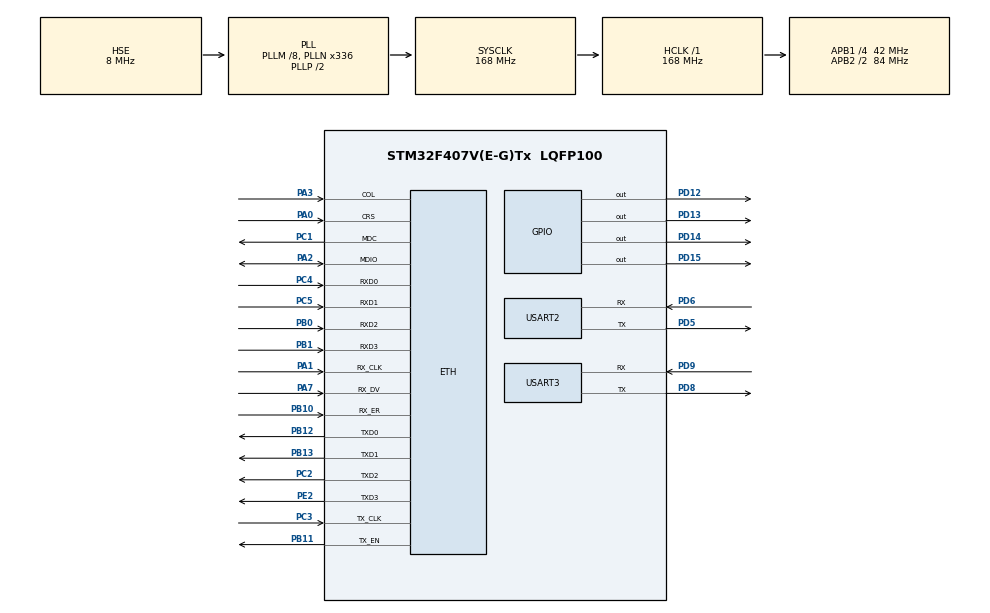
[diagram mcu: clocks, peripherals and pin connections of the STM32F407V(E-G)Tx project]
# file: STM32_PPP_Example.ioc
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Dma.Request0=USART2_TX
Dma.Request1=USART2_RX
Dma.Request2=USART3_RX
Dma.Request3=USART3_TX
Dma.USART2_RX.1.Direction=DMA_PERIPH_TO_MEMORY
Dma.USART2_RX.1.FIFOMode=DMA_FIFOMODE_DISABLE
Dma.USART2_RX.1.Instance=DMA1_Stream5
Dma.USART2_RX.1.MemDataAlignment=DMA_MDATAALIGN_BYTE
Dma.USART2_RX.1.MemInc=DMA_MINC_ENABLE
Dma.USART2_RX.1.Mode=DMA_CIRCULAR
Dma.USART2_RX.1.PeriphDataAlignment=DMA_PDATAALIGN_BYTE
Dma.USART2_RX.1.PeriphInc=DMA_PINC_DISABLE
Dma.USART2_RX.1.Priority=DMA_PRIORITY_MEDIUM
Dma.USART2_TX.0.Direction=DMA_MEMORY_TO_PERIPH
Dma.USART2_TX.0.FIFOMode=DMA_FIFOMODE_DISABLE
Dma.USART2_TX.0.Instance=DMA1_Stream6
Dma.USART2_TX.0.MemDataAlignment=DMA_MDATAALIGN_BYTE
Dma.USART2_TX.0.MemInc=DMA_MINC_ENABLE
Dma.USART2_TX.0.Mode=DMA_NORMAL
Dma.USART2_TX.0.PeriphDataAlignment=DMA_PDATAALIGN_BYTE
Dma.USART2_TX.0.PeriphInc=DMA_PINC_DISABLE
Dma.USART2_TX.0.Priority=DMA_PRIORITY_MEDIUM
Dma.USART3_RX.2.Direction=DMA_PERIPH_TO_MEMORY
Dma.USART3_RX.2.FIFOMode=DMA_FIFOMODE_DISABLE
Dma.USART3_RX.2.Instance=DMA1_Stream1
Dma.USART3_RX.2.MemDataAlignment=DMA_MDATAALIGN_BYTE
Dma.USART3_RX.2.MemInc=DMA_MINC_ENABLE
Dma.USART3_RX.2.Mode=DMA_NORMAL
Dma.USART3_RX.2.PeriphDataAlignment=DMA_PDATAALIGN_BYTE
Dma.USART3_RX.2.PeriphInc=DMA_PINC_DISABLE
Dma.USART3_RX.2.Priority=DMA_PRIORITY_MEDIUM
Dma.USART3_TX.3.Direction=DMA_MEMORY_TO_PERIPH
Dma.USART3_TX.3.FIFOMode=DMA_FIFOMODE_DISABLE
Dma.USART3_TX.3.Instance=DMA1_Stream3
Dma.USART3_TX.3.MemDataAlignment=DMA_MDATAALIGN_BYTE
Dma.USART3_TX.3.MemInc=DMA_MINC_ENABLE
Dma.USART3_TX.3.Mode=DMA_NORMAL
Dma.USART3_TX.3.PeriphDataAlignment=DMA_PDATAALIGN_BYTE
Dma.USART3_TX.3.PeriphInc=DMA_PINC_DISABLE
Dma.USART3_TX.3.Priority=DMA_PRIORITY_MEDIUM
ETH.MediaInterface=HAL_ETH_MII_MODE
FREERTOS.Tasks01=defaultTask,0,1280,StartDefaultTask,Default,NULL,Dynamic,NULL,NULL
FREERTOS.configUSE_NEWLIB_REENTRANT=1
LWIP.CHAP_SUPPORT=1
LWIP.LWIP_INCLUDED_POLARSSL_ARC4=1
LWIP.LWIP_INCLUDED_POLARSSL_DES=1
LWIP.LWIP_INCLUDED_POLARSSL_MD4=1
LWIP.LWIP_INCLUDED_POLARSSL_SHA1=1
LWIP.PAP_SUPPORT=1
LWIP.Version=v2.1.2_Cube
Mcu.Family=STM32F4
Mcu.Name=STM32F407V(E-G)Tx
Mcu.Package=LQFP100
NVIC.DMA1_Stream1_IRQn=true\:5\:0\:false\:false\:true\:true\:false\:true\:true
NVIC.DMA1_Stream3_IRQn=true\:5\:0\:false\:false\:true\:true\:false\:true\:true
NVIC.DMA1_Stream5_IRQn=true\:5\:0\:false\:false\:true\:true\:false\:true\:true
NVIC.DMA1_Stream6_IRQn=true\:5\:0\:false\:false\:true\:true\:false\:true\:true
NVIC.ETH_IRQn=true\:5\:0\:false\:false\:true\:true\:false\:true\:true
NVIC.PriorityGroup=NVIC_PRIORITYGROUP_4
NVIC.TIM1_UP_TIM10_IRQn=true\:0\:0\:false\:false\:true\:false\:false\:true\:true
NVIC.TimeBase=TIM1_UP_TIM10_IRQn
NVIC.TimeBaseIP=TIM1
NVIC.USART2_IRQn=true\:5\:0\:false\:false\:true\:true\:true\:true\:true
NVIC.USART3_IRQn=true\:5\:0\:false\:false\:true\:true\:true\:true\:true
PA0-WKUP.Mode=MII
PA0-WKUP.Signal=ETH_CRS
PA1.Mode=MII
PA1.Signal=ETH_RX_CLK
PA13.Mode=Serial_Wire
PA13.Signal=SYS_JTMS-SWDIO
PA14.Mode=Serial_Wire
PA14.Signal=SYS_JTCK-SWCLK
PA2.Mode=MII
PA2.Signal=ETH_MDIO
PA3.Mode=MII
PA3.Signal=ETH_COL
PA7.Mode=MII
PA7.Signal=ETH_RX_DV
PB0.Mode=MII
PB0.Signal=ETH_RXD2
PB1.Mode=MII
PB1.Signal=ETH_RXD3
PB10.Mode=Activate Rx Err signal
PB10.Signal=ETH_RX_ER
PB11.Mode=MII
PB11.Signal=ETH_TX_EN
PB12.Mode=MII
PB12.Signal=ETH_TXD0
PB13.Mode=MII
PB13.Signal=ETH_TXD1
PC1.Mode=MII
PC1.Signal=ETH_MDC
PC2.Mode=MII
PC2.Signal=ETH_TXD2
PC3.Mode=MII
PC3.Signal=ETH_TX_CLK
PC4.Mode=MII
PC4.Signal=ETH_RXD0
PC5.Mode=MII
PC5.Signal=ETH_RXD1
PD12.Signal=GPIO_Output
PD13.Signal=GPIO_Output
PD14.Signal=GPIO_Output
PD15.Signal=GPIO_Output
PD5.Mode=Asynchronous
PD5.Signal=USART2_TX
PD6.Mode=Asynchronous
PD6.Signal=USART2_RX
PD8.Mode=Asynchronous
PD8.Signal=USART3_TX
PD9.Mode=Asynchronous
PD9.Signal=USART3_RX
PE2.Mode=MII
PE2.Signal=ETH_TXD3
PH0-OSC_IN.Mode=HSE-External-Oscillator
PH0-OSC_IN.Signal=RCC_OSC_IN
PH1-OSC_OUT.Mode=HSE-External-Oscillator
PH1-OSC_OUT.Signal=RCC_OSC_OUT
ProjectManager.HeapSize=0x200
ProjectManager.StackSize=0x400
ProjectManager.TargetToolchain=STM32CubeIDE
RCC.48MHZClocksFreq_Value=84000000
RCC.AHBFreq_Value=168000000
RCC.APB1CLKDivider=RCC_HCLK_DIV4
RCC.APB1Freq_Value=42000000
RCC.APB1TimFreq_Value=84000000
RCC.APB2CLKDivider=RCC_HCLK_DIV2
RCC.APB2Freq_Value=84000000
RCC.APB2TimFreq_Value=168000000
RCC.CortexFreq_Value=168000000
RCC.HCLKFreq_Value=168000000
RCC.HSE_VALUE=8000000
RCC.HSI_VALUE=16000000
RCC.LSE_VALUE=32768
RCC.PLLM=8
RCC.PLLN=336
RCC.PLLSourceVirtual=RCC_PLLSOURCE_HSE
RCC.SYSCLKFreq_VALUE=168000000
RCC.SYSCLKSource=RCC_SYSCLKSOURCE_PLLCLK
RCC.VCOOutputFreq_Value=336000000
USART2.VirtualMode=VM_ASYNC
USART3.VirtualMode=VM_ASYNC
VP_FREERTOS_VS_CMSIS_V1.Mode=CMSIS_V1
VP_LWIP_VS_Enabled.Mode=Enabled
VP_SYS_VS_tim1.Mode=TIM1
board=STM32_PPP_Example

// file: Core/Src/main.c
/* USER CODE BEGIN Header */
/**
  ******************************************************************************
  * @file           : main.c
  * @brief          : Main program body
  ******************************************************************************
  * @attention
  *
  * Copyright (c) 2023 STMicroelectronics.
  * All rights reserved.
  *
  * This software is licensed under terms that can be found in the LICENSE file
  * in the root directory of this software component.
  * If no LICENSE file comes with this software, it is provided AS-IS.
  *
  ******************************************************************************
  */
/* USER CODE END Header */
#include "main.h"
#include "cmsis_os.h"
#include "lwip.h"

UART_HandleTypeDef huart2;
UART_HandleTypeDef huart3;
DMA_HandleTypeDef hdma_usart2_tx;
DMA_HandleTypeDef hdma_usart2_rx;
DMA_HandleTypeDef hdma_usart3_rx;
DMA_HandleTypeDef hdma_usart3_tx;

osThreadId defaultTaskHandle;

void SystemClock_Config(void);
static void MX_GPIO_Init(void);
static void MX_DMA_Init(void);
static void MX_USART2_UART_Init(void);
static void MX_USART3_UART_Init(void);
void StartDefaultTask(void const * argument);

int main(void)
{

  /* MCU Configuration--------------------------------------------------------*/

  /* Reset of all peripherals, Initializes the Flash interface and the Systick. */
  HAL_Init();

  /* Configure the system clock */
  SystemClock_Config();

  /* Initialize all configured peripherals */
  MX_GPIO_Init();
  MX_DMA_Init();
  MX_USART2_UART_Init();
  MX_USART3_UART_Init();

  /* Create the thread(s) */
  /* definition and creation of defaultTask */
  osThreadDef(defaultTask, StartDefaultTask, osPriorityNormal, 0, 1280);
  defaultTaskHandle = osThreadCreate(osThread(defaultTask), NULL);

  /* Start scheduler */
  osKernelStart();
  /* We should never get here as control is now taken by the scheduler */
  /* Infinite loop */
  while (1)
  {

  }
}

void SystemClock_Config(void)
{
  RCC_OscInitTypeDef RCC_OscInitStruct = {0};
  RCC_ClkInitTypeDef RCC_ClkInitStruct = {0};

  /** Configure the main internal regulator output voltage
  */
  __HAL_RCC_PWR_CLK_ENABLE();
  __HAL_PWR_VOLTAGESCALING_CONFIG(PWR_REGULATOR_VOLTAGE_SCALE1);

  /** Initializes the RCC Oscillators according to the specified parameters
  * in the RCC_OscInitTypeDef structure.
  */
  RCC_OscInitStruct.OscillatorType = RCC_OSCILLATORTYPE_HSE;
  RCC_OscInitStruct.HSEState = RCC_HSE_ON;
  RCC_OscInitStruct.PLL.PLLState = RCC_PLL_ON;
  RCC_OscInitStruct.PLL.PLLSource = RCC_PLLSOURCE_HSE;
  RCC_OscInitStruct.PLL.PLLM = 8;
  RCC_OscInitStruct.PLL.PLLN = 336;
  RCC_OscInitStruct.PLL.PLLP = RCC_PLLP_DIV2;
  RCC_OscInitStruct.PLL.PLLQ = 4;
  if (HAL_RCC_OscConfig(&RCC_OscInitStruct) != HAL_OK)
  {
    Error_Handler();
  }

  /** Initializes the CPU, AHB and APB buses clocks
  */
  RCC_ClkInitStruct.ClockType = RCC_CLOCKTYPE_HCLK|RCC_CLOCKTYPE_SYSCLK
                              |RCC_CLOCKTYPE_PCLK1|RCC_CLOCKTYPE_PCLK2;
  RCC_ClkInitStruct.SYSCLKSource = RCC_SYSCLKSOURCE_PLLCLK;
  RCC_ClkInitStruct.AHBCLKDivider = RCC_SYSCLK_DIV1;
  RCC_ClkInitStruct.APB1CLKDivider = RCC_HCLK_DIV4;
  RCC_ClkInitStruct.APB2CLKDivider = RCC_HCLK_DIV2;

  if (HAL_RCC_ClockConfig(&RCC_ClkInitStruct, FLASH_LATENCY_5) != HAL_OK)
  {
    Error_Handler();
  }
}

static void MX_USART2_UART_Init(void)
{

  huart2.Instance = USART2;
  huart2.Init.BaudRate = 115200;
  huart2.Init.WordLength = UART_WORDLENGTH_8B;
  huart2.Init.StopBits = UART_STOPBITS_1;
  huart2.Init.Parity = UART_PARITY_NONE;
  huart2.Init.Mode = UART_MODE_TX_RX;
  huart2.Init.HwFlowCtl = UART_HWCONTROL_NONE;
  huart2.Init.OverSampling = UART_OVERSAMPLING_16;
  if (HAL_UART_Init(&huart2) != HAL_OK)
  {
    Error_Handler();
  }

}

static void MX_USART3_UART_Init(void)
{

  huart3.Instance = USART3;
  huart3.Init.BaudRate = 115200;
  huart3.Init.WordLength = UART_WORDLENGTH_8B;
  huart3.Init.StopBits = UART_STOPBITS_1;
  huart3.Init.Parity = UART_PARITY_NONE;
  huart3.Init.Mode = UART_MODE_TX_RX;
  huart3.Init.HwFlowCtl = UART_HWCONTROL_NONE;
  huart3.Init.OverSampling = UART_OVERSAMPLING_16;
  if (HAL_UART_Init(&huart3) != HAL_OK)
  {
    Error_Handler();
  }

}

static void MX_DMA_Init(void)
{

  /* DMA controller clock enable */
  __HAL_RCC_DMA1_CLK_ENABLE();

  /* DMA interrupt init */
  /* DMA1_Stream1_IRQn interrupt configuration */
  HAL_NVIC_SetPriority(DMA1_Stream1_IRQn, 5, 0);
  HAL_NVIC_EnableIRQ(DMA1_Stream1_IRQn);
  /* DMA1_Stream3_IRQn interrupt configuration */
  HAL_NVIC_SetPriority(DMA1_Stream3_IRQn, 5, 0);
  HAL_NVIC_EnableIRQ(DMA1_Stream3_IRQn);
  /* DMA1_Stream5_IRQn interrupt configuration */
  HAL_NVIC_SetPriority(DMA1_Stream5_IRQn, 5, 0);
  HAL_NVIC_EnableIRQ(DMA1_Stream5_IRQn);
  /* DMA1_Stream6_IRQn interrupt configuration */
  HAL_NVIC_SetPriority(DMA1_Stream6_IRQn, 5, 0);
  HAL_NVIC_EnableIRQ(DMA1_Stream6_IRQn);

}

static void MX_GPIO_Init(void)
{
  GPIO_InitTypeDef GPIO_InitStruct = {0};

  /* GPIO Ports Clock Enable */
  __HAL_RCC_GPIOE_CLK_ENABLE();
  __HAL_RCC_GPIOH_CLK_ENABLE();
  __HAL_RCC_GPIOC_CLK_ENABLE();
  __HAL_RCC_GPIOA_CLK_ENABLE();
  __HAL_RCC_GPIOB_CLK_ENABLE();
  __HAL_RCC_GPIOD_CLK_ENABLE();

  /*Configure GPIO pin Output Level */
  HAL_GPIO_WritePin(GPIOD, GPIO_PIN_12|GPIO_PIN_13|GPIO_PIN_14|GPIO_PIN_15, GPIO_PIN_RESET);

  /*Configure GPIO pins : PD12 PD13 PD14 PD15 */
  GPIO_InitStruct.Pin = GPIO_PIN_12|GPIO_PIN_13|GPIO_PIN_14|GPIO_PIN_15;
  GPIO_InitStruct.Mode = GPIO_MODE_OUTPUT_PP;
  GPIO_InitStruct.Pull = GPIO_NOPULL;
  GPIO_InitStruct.Speed = GPIO_SPEED_FREQ_LOW;
  HAL_GPIO_Init(GPIOD, &GPIO_InitStruct);

}

/* USER CODE BEGIN 4 */
#include "logger.h"
#include "usart.h"
#include "sockets.h"
typedef uint32_t SOCKET;
const char AT_AT[] = "AT\x0D";
const char AT_PPP_1[] = "AT+CGDCONT=1,\"IP\",\"ibox.tim.it\"\x0D";
const char AT_PPP_2[] = "AT+CGAUTH=1,1,\"\",\"\"\x0D";
const char AT_PPP_3[] = "AT+CGACT=1,1\x0D";
const char AT_PPP_4[] = "AT+CIFSR\x0D";
const char AT_PPP_ENABLE[] = "ATD*99***1#\x0D";
/* USER CODE END 4 */

void StartDefaultTask(void const * argument)
{
  /* init code for LWIP */
//  MX_LWIP_Init();
  /* USER CODE BEGIN 5 */
  usart_Open();
  osDelay(1000);
  usart_Send((char*)AT_AT, strlen(AT_AT));
  osDelay(1000);
  usart_Send((char*)AT_AT, strlen(AT_AT));
  osDelay(1000);
  usart_Send((char*)AT_AT, strlen(AT_AT));
  osDelay(1000);
  usart_Send((char*)AT_AT, strlen(AT_AT));
  osDelay(1000);
  usart_Send((char*)AT_PPP_1, strlen(AT_PPP_1));
  osDelay(1000);
  usart_Send((char*)AT_PPP_2, strlen(AT_PPP_2));
  osDelay(1000);
  usart_Send((char*)AT_PPP_3, strlen(AT_PPP_3));
  osDelay(1000);
  usart_Send((char*)AT_PPP_4, strlen(AT_PPP_4));
  osDelay(1000);
  usart_Send((char*)AT_PPP_ENABLE, strlen(AT_PPP_ENABLE));
  osDelay(5000);
  MX_LWIP_Init();
  /* USER CODE BEGIN 5 */

  /* Infinite loop */

  uint8_t sendStr[] = "Test message TCP/IP.";
  uint8_t resvStr[100] = {0};
  int     resvLength = 0;

  struct sockaddr_in sockAddr;
  sockAddr.sin_family = AF_INET;
  sockAddr.sin_port = htons(40000);
  uint32_t addr = inet_addr("217.141.179.150");
  sockAddr.sin_addr.s_addr = addr;

  SOCKET socket = 0;
  int nError = 0;

  for(;;)
  {
	  HAL_GPIO_WritePin(GPIOD, GPIO_PIN_12|GPIO_PIN_13|GPIO_PIN_14|GPIO_PIN_15, GPIO_PIN_SET);
	  osDelay(1000);
	  HAL_GPIO_WritePin(GPIOD, GPIO_PIN_12|GPIO_PIN_13|GPIO_PIN_14|GPIO_PIN_15, GPIO_PIN_RESET);
	  osDelay(1000);

	  socket = socket(AF_INET, SOCK_STREAM, 0);
	  nError = connect(socket, (struct sockaddr*)&sockAddr, sizeof(sockAddr));
	  if (nError ==  0) {
		  nError = send(socket, sendStr, sizeof(sendStr)-1, 0);
		  if (nError <  0) {
			  logger("SEND ERROR %d\n", nError);
		  } else {
			  logger("SEND - %s\n", sendStr);
			  resvLength = 0;
			  while(resvLength < 1) {
				  resvLength = lwip_recv( socket, resvStr, sizeof(resvStr), MSG_WAITALL);
			  }
			  resvStr[resvLength]=0;
			  logger("GET - %s\n", resvStr);
		  }
		  lwip_close(socket);
	  } else {
		  logger("CONNECT ERROR %d\n", nError);
	  }
  }
  /* USER CODE END 5 */
}

void HAL_TIM_PeriodElapsedCallback(TIM_HandleTypeDef *htim)
{
  if (htim->Instance == TIM1) {
    HAL_IncTick();
  }
}

void Error_Handler(void)
{
  __disable_irq();
  while (1)
  {
  }
}
